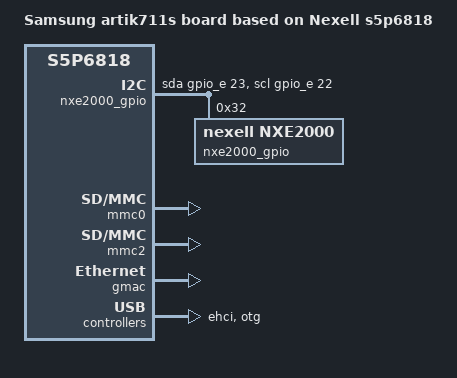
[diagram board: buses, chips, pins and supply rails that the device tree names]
/*
 * (C) Copyright 2018 Samsung Electronics
 * Chanho Park <chanho61.park@samsung.com>
 *
 * SPDX-License-Identifier: GPL-2.0+
 */

/dts-v1/;
#include "s5p6818-artik711s.dtsi"

/ {
	model = "Samsung artik711s board based on Nexell s5p6818";
	cpu-model = "S5p6818";

	compatible = "samsung,artik711s-raptor", "samsung,artik710-raptor",
		   "samsung,artik710", "nexell,s5p6818";

	nxe2000_gpio:i2c_gpio@1 {
		compatible = "i2c-gpio";
		#address-cells = <1>;
		#size-cells = <0>;
		gpios = <&gpio_e 23 1>,	/* SDA */
		      <&gpio_e 22 1>;	/* SCL */

		i2c-gpio,delay-us = <3>;
		nxe2000_gpio@32 {
			compatible = "nexell,nxe2000";
			reg = <0x32>;
		};
	};

	voltage-regulators {
		dcdc0: BUCK0 {
			regulator-name = "dcdc1";
			regulator-min-microvolt = <600000>;
			regulator-max-microvolt = <3500000>;
			regulator-always-on = <1>;
			regulator-boot-on = <1>;
		};

		dcdc1: BUCK1 {
			regulator-name = "dcdc2";
			regulator-min-microvolt = <600000>;
			regulator-max-microvolt = <3500000>;
			regulator-always-on = <1>;
			regulator-boot-on = <1>;
		};

		dcdc2: BUCK2 {
			regulator-name = "dcdc3";
			regulator-min-microvolt = <600000>;
			regulator-max-microvolt = <3500000>;
			regulator-always-on = <1>;
			regulator-boot-on = <1>;
		};

		dcdc3: BUCK3 {
			regulator-name = "dcdc4";
			regulator-min-microvolt = <600000>;
			regulator-max-microvolt = <3500000>;
			regulator-always-on = <1>;
			regulator-boot-on = <1>;
		};

		dcdc4: BUCK4 {
			regulator-name = "dcdc5";
			regulator-min-microvolt = <600000>;
			regulator-max-microvolt = <3500000>;
			regulator-always-on = <1>;
			regulator-boot-on = <1>;
		};

		ldo0: LDO0 {
			regulator-min-microvolt = <900000>;
			regulator-max-microvolt = <3500000>;
			regulator-name = "ldo1";
		};

		ldo1: LDO1 {
			regulator-min-microvolt = <900000>;
			regulator-max-microvolt = <3500000>;
			regulator-name = "ldo2";
		};

		ldo2: LDO2 {
			regulator-min-microvolt = <900000>;
			regulator-max-microvolt = <3500000>;
			regulator-name = "ldo3";
		};

		ldo3: LDO3 {
			regulator-min-microvolt = <900000>;
			regulator-max-microvolt = <3500000>;
			regulator-name = "ldo4";
		};

		ldo4: LDO4 {
			regulator-min-microvolt = <600000>;
			regulator-max-microvolt = <3500000>;
			regulator-name = "ldo5";
		};

		ldo5: LDO5 {
			regulator-min-microvolt = <600000>;
			regulator-max-microvolt = <3500000>;
			regulator-name = "ldo6";
			regulator-always-on = <1>;
			regulator-boot-on = <1>;
		};

		ldo6: LDO6 {
			regulator-min-microvolt = <900000>;
			regulator-max-microvolt = <3500000>;
			regulator-name = "ldo7";
		};

		ldo7: LDO7 {
			regulator-min-microvolt = <900000>;
			regulator-max-microvolt = <3500000>;
			regulator-name = "ldo8";
		};

		ldo8: LDO8 {
			regulator-min-microvolt = <900000>;
			regulator-max-microvolt = <3500000>;
			regulator-name = "ldo9";
		};

		ldo9: LDO9 {
			regulator-min-microvolt = <900000>;
			regulator-max-microvolt = <3500000>;
			regulator-name = "ldo10";
		};

		ldortc1: LDO10 {
			regulator-min-microvolt = <1700000>;
			regulator-max-microvolt = <3500000>;
			regulator-name = "ldortc1";
			regulator-always-on = <1>;
			regulator-boot-on = <1>;
		};

		ldortc2: LDO11 {
			regulator-min-microvolt = <1700000>;
			regulator-max-microvolt = <3500000>;
			regulator-name = "ldortc2";
			regulator-always-on = <1>;
			regulator-boot-on = <1>;
		};
	}; /* voltage-regulators */
};

&mmc0 {
	frequency = <50000000>;
	nexell,drive_dly = <0x0>;
	nexell,drive_shift = <0x03>;
	nexell,sample_dly = <0x00>;
	nexell,sample_shift = <0x02>;
	status = "okay";
};

&mmc2 {
	frequency = <50000000>;
	nexell,drive_dly = <0x0>;
	nexell,drive_shift = <0x03>;
	nexell,sample_dly = <0x00>;
	nexell,sample_shift = <0x02>;
	nexell,bus-width = <4>;
	index = <0>;
	status = "okay";
};

&gmac {
	mac-address = [000000000000]; /* Filled in by U-Boot */
	status = "okay";
};

&ehci {
	samsung,vbus-gpio = <&gpio_a 16 0>;
	status = "okay";
};

&otg {
	status = "okay";
};

&pinctrl {
	sdmmc2_cclk: sdmmc2-cclk {
		nexell,pin-strength = <NX_PIN_STR3>;
	};

	sdmmc2_cmd: sdmmc2-cmd {
		nexell,pin-strength = <NX_PIN_STR2>;
	};

	sdmmc2_bus4: sdmmc2-bus-width4 {
		nexell,pin-strength = <NX_PIN_STR2>;
	};
};
